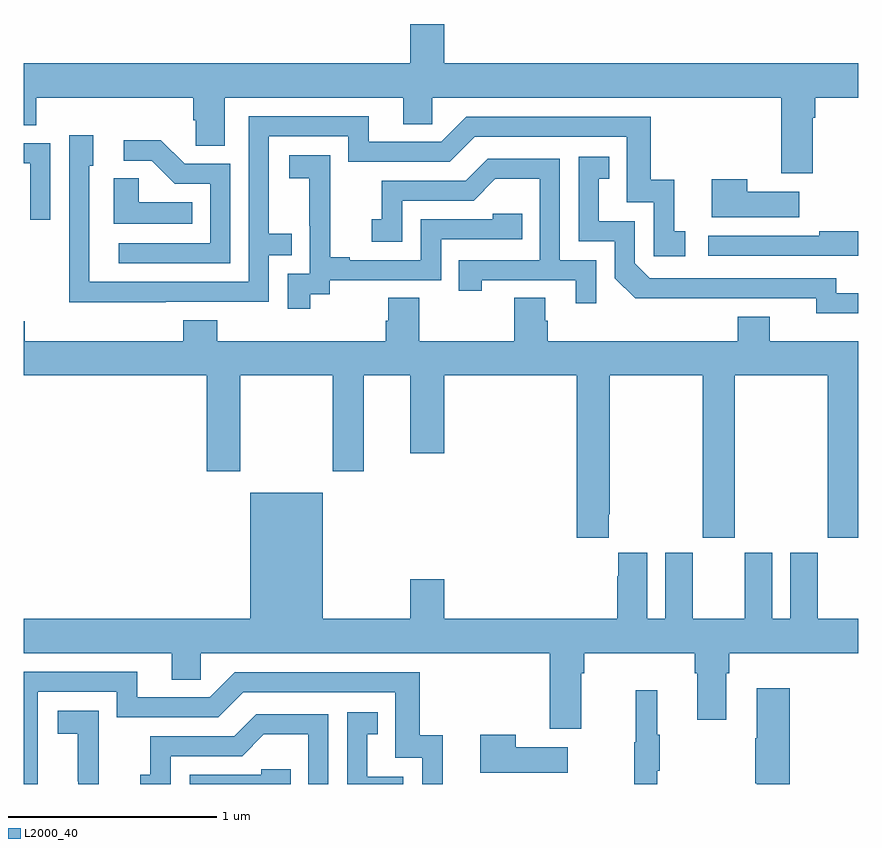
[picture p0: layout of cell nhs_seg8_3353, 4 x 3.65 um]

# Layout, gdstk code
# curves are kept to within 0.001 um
import gdstk
lib = gdstk.Library(unit=1e-6, precision=1e-09)
def P(c, l, *ps):  # polygons
    for p in ps: c.add(gdstk.Polygon(p, *l))
L2000_40 = (2000, 40)

nhs_seg8_3353 = lib.new_cell('nhs_seg8_3353')
P(nhs_seg8_3353, L2000_40, [(321.016,1091.545),(320.852,1091.545),(320.852,1091.356),(319,1091.356),(319,1091.059),(319.058,1091.059),(319.058,1091.192),(319.811,1091.192),(319.811,1091.083),(319.824,1091.083),(319.824,1090.96),(319.963,1090.96),(319.963,1091.192),(320.819,1091.192),(320.819,1091.065),(320.958,1091.065),(320.958,1091.192),(322.631,1091.192),(322.631,1090.83),(322.783,1090.83),(322.783,1091.096),(322.796,1091.096),(322.796,1091.192),(323,1091.192),(323,1091.356),(321.016,1091.356)],
  [(319.679,1090.212),(320.175,1090.212),(320.175,1090.437),(320.285,1090.437),(320.285,1090.538),(320.175,1090.538),(320.175,1091.007),(320.556,1091.007),(320.556,1090.884),(321.042,1090.884),(321.162,1091.004),(321.891,1091.004),(321.891,1090.689),(322.02,1090.689),(322.02,1090.431),(322.171,1090.431),(322.171,1090.551),(322.118,1090.551),(322.118,1090.798),(322.007,1090.798),(322.007,1091.1),(321.12,1091.1),(321,1090.98),(320.653,1090.98),(320.653,1091.103),(320.079,1091.103),(320.079,1090.308),(319.314,1090.308),(319.314,1090.866),(319.333,1090.866),(319.333,1091.011),(319.218,1091.011),(319.218,1090.517),(319.216,1090.517),(319.216,1090.211)],
  [(319.989,1090.875),(319.77,1090.875),(319.657,1090.988),(319.479,1090.988),(319.479,1090.89),(319.613,1090.89),(319.724,1090.779),(319.893,1090.779),(319.893,1090.494),(319.455,1090.494),(319.455,1090.398),(319.989,1090.398)],
  [(319.125,1090.974),(319,1090.974),(319,1090.878),(319.029,1090.878),(319.029,1090.605),(319.125,1090.605)],
  [(320.374,1090.249),(320.466,1090.249),(320.466,1090.317),(321,1090.317),(321,1090.512),(321.389,1090.512),(321.389,1090.635),(321.249,1090.635),(321.249,1090.608),(320.904,1090.608),(320.904,1090.413),(320.563,1090.413),(320.563,1090.426),(320.468,1090.426),(320.468,1090.709),(320.469,1090.709),(320.469,1090.915),(320.271,1090.915),(320.271,1090.805),(320.369,1090.805),(320.369,1090.577),(320.37,1090.577),(320.37,1090.347),(320.265,1090.347),(320.265,1090.179),(320.374,1090.179)],
  [(323,1090.254),(322.896,1090.254),(322.896,1090.326),(322.002,1090.326),(321.93,1090.398),(321.93,1090.599),(321.757,1090.599),(321.757,1090.803),(321.806,1090.803),(321.806,1090.909),(321.66,1090.909),(321.66,1090.503),(321.834,1090.503),(321.834,1090.326),(321.932,1090.229),(322.8,1090.23),(322.8,1090.157),(323,1090.157)],
  [(321.744,1090.413),(321.57,1090.413),(321.57,1090.899),(321.224,1090.899),(321.119,1090.794),(320.716,1090.794),(320.716,1090.609),(320.667,1090.609),(320.667,1090.5),(320.814,1090.5),(320.814,1090.698),(321.156,1090.698),(321.26,1090.802),(321.474,1090.802),(321.474,1090.413),(321.085,1090.413),(321.085,1090.266),(321.196,1090.266),(321.196,1090.317),(321.647,1090.317),(321.647,1090.206),(321.744,1090.206)],
  [(319.808,1090.69),(319.551,1090.69),(319.551,1090.805),(319.43,1090.805),(319.43,1090.586),(319.808,1090.586)],
  [(322.717,1090.741),(322.469,1090.741),(322.469,1090.801),(322.298,1090.801),(322.298,1090.619),(322.717,1090.619)],
  [(323,1090.55),(322.813,1090.55),(322.813,1090.53),(322.281,1090.53),(322.281,1090.434),(323,1090.434)],
  [(321.805,1089.193),(321.81,1089.193),(321.81,1089.86),(322.255,1089.86),(322.255,1089.081),(322.41,1089.081),(322.41,1089.86),(322.855,1089.86),(322.855,1089.081),(323,1089.081),(323,1090.024),(322.576,1090.024),(322.576,1090.141),(322.424,1090.141),(322.424,1090.024),(321.512,1090.024),(321.512,1090.122),(321.499,1090.122),(321.499,1090.232),(321.352,1090.232),(321.352,1090.024),(320.895,1090.024),(320.895,1090.232),(320.747,1090.232),(320.747,1090.122),(320.735,1090.122),(320.735,1090.024),(319.928,1090.024),(319.928,1090.123),(319.763,1090.123),(319.763,1090.024),(319.004,1090.024),(319.004,1090.12),(319,1090.12),(319,1089.86),(319.877,1089.86),(319.877,1089.399),(320.037,1089.399),(320.037,1089.86),(320.482,1089.86),(320.482,1089.399),(320.629,1089.399),(320.629,1089.86),(320.852,1089.86),(320.852,1089.486),(321.016,1089.486),(321.016,1089.86),(321.65,1089.86),(321.65,1089.081),(321.805,1089.081)],
  [(321.673,1088.432),(321.686,1088.432),(321.686,1088.528),(322.217,1088.528),(322.217,1088.432),(322.229,1088.432),(322.229,1088.208),(322.369,1088.208),(322.369,1088.432),(322.382,1088.432),(322.382,1088.528),(323,1088.528),(323,1088.692),(322.807,1088.692),(322.807,1089.01),(322.676,1089.01),(322.676,1088.692),(322.588,1088.692),(322.588,1089.01),(322.457,1089.01),(322.457,1088.692),(322.207,1088.692),(322.207,1089.01),(322.076,1089.01),(322.076,1088.692),(321.988,1088.692),(321.988,1089.01),(321.851,1089.01),(321.851,1088.897),(321.845,1088.897),(321.845,1088.692),(321.016,1088.692),(321.016,1088.881),(320.852,1088.881),(320.852,1088.692),(320.434,1088.692),(320.434,1089.298),(320.084,1089.298),(320.084,1088.692),(319,1088.692),(319,1088.528),(319.709,1088.528),(319.709,1088.401),(319.848,1088.401),(319.848,1088.528),(321.521,1088.528),(321.521,1088.166),(321.673,1088.166)],
  [(319.065,1088.343),(319.446,1088.343),(319.446,1088.22),(319.932,1088.22),(320.052,1088.34),(320.781,1088.34),(320.781,1088.025),(320.91,1088.025),(320.91,1087.9),(321.008,1087.9),(321.008,1088.134),(320.897,1088.134),(320.897,1088.436),(320.01,1088.436),(319.89,1088.316),(319.543,1088.316),(319.543,1088.439),(319,1088.439),(319,1087.9),(319.065,1087.9)],
  [(322.673,1088.359),(322.514,1088.359),(322.514,1088.12),(322.507,1088.12),(322.507,1087.903),(322.514,1087.903),(322.514,1087.9),(322.673,1087.9)],
  [(322.037,1087.963),(322.048,1087.963),(322.048,1088.137),(322.037,1088.137),(322.037,1088.35),(321.934,1088.35),(321.934,1088.1),(321.927,1088.1),(321.927,1087.9),(322.037,1087.9)],
  [(319.358,1088.045),(319.359,1088.045),(319.359,1088.251),(319.161,1088.251),(319.161,1088.141),(319.259,1088.141),(319.259,1087.913),(319.26,1087.913),(319.26,1087.9),(319.358,1087.9)],
  [(320.82,1087.935),(320.647,1087.935),(320.647,1088.139),(320.696,1088.139),(320.696,1088.245),(320.55,1088.245),(320.55,1087.9),(320.82,1087.9)],
  [(319.704,1088.034),(320.046,1088.034),(320.15,1088.138),(320.364,1088.138),(320.364,1087.9),(320.46,1087.9),(320.46,1088.235),(320.114,1088.235),(320.009,1088.13),(319.606,1088.13),(319.606,1087.945),(319.557,1087.945),(319.557,1087.9),(319.704,1087.9)],
  [(321.607,1088.077),(321.359,1088.077),(321.359,1088.137),(321.188,1088.137),(321.188,1087.955),(321.607,1087.955)],
  [(320.279,1087.971),(320.139,1087.971),(320.139,1087.944),(319.794,1087.944),(319.794,1087.9),(320.279,1087.9)])

lib.write_gds('nhs_seg8_3353.gds')
